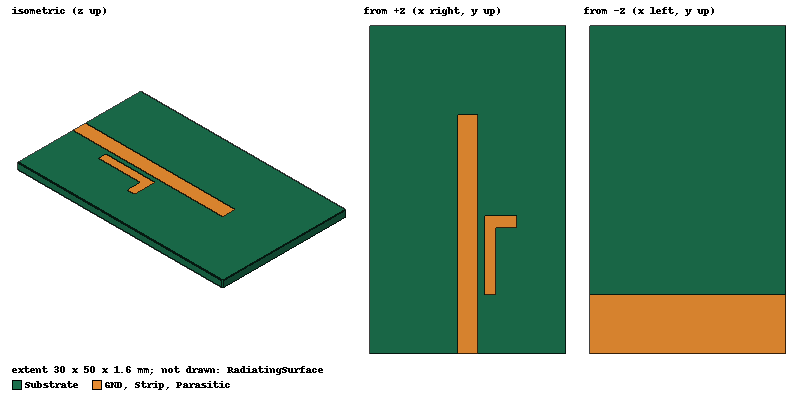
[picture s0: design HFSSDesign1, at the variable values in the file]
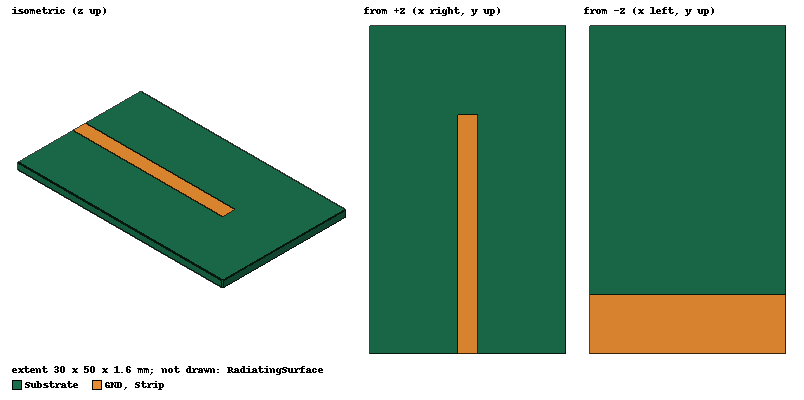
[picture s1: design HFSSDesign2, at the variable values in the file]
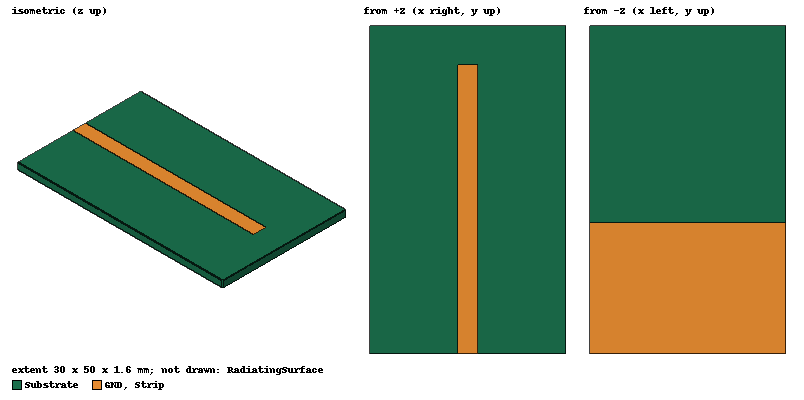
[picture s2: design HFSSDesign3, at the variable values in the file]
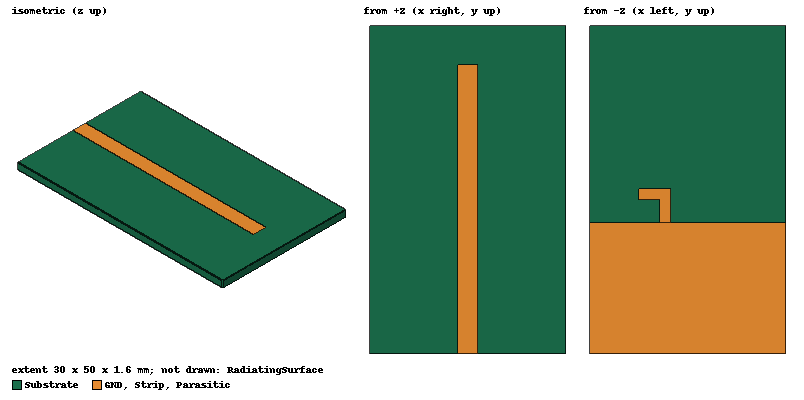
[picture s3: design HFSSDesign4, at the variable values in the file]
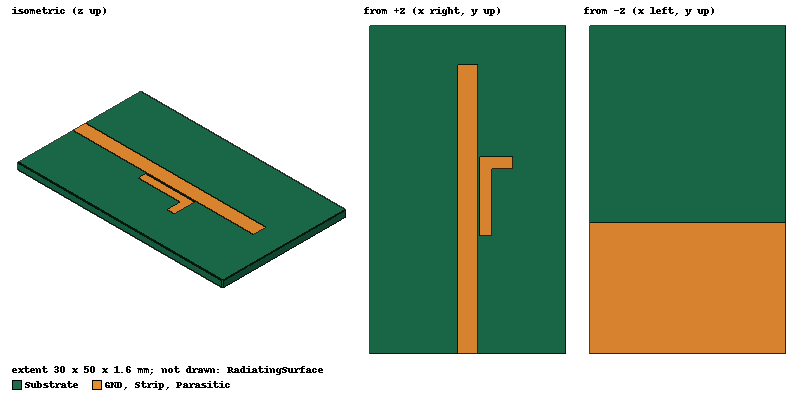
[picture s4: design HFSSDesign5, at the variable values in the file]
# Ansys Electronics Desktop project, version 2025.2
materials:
  vacuum: permittivity=1
  FR4_epoxy: permittivity=4.4 dielectric_loss_tangent=0.02
  copper: permeability=0.999991 conductivity=58000000

design HFSSDesign1 (HFSS, HFSS Modal Network, model units mm)
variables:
  sub_W = 30mm
  sub_L = 50mm
  h = 1.6mm
  Lg = 9mm
  Wf = 3.06mm
  Lm = 27.5mm
  Lp1 = 12mm
  Lp2 = 5mm
  Wp = 1.8mm
  gp = 1mm
  Loff = 0mm
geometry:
  Substrate [FR4_epoxy] = box(corner=(-sub_W/2, 0mm, 0mm), size=(sub_W, sub_L, h))
  GND = rectangle(corner=(-sub_W/2, 0mm, 0mm), x_size=sub_W, y_size=Lg)
  Strip = rectangle(corner=(-Wf/2, 0mm, h), x_size=Wf, y_size=Lg+Lm)
  PortSheet = rectangle(corner=(-Wf/2, 0mm, 0mm), z_size=h, x_size=Wf)
  RadiatingSurface [vacuum] = region(absolute_offset=41.666667mm on all sides)
  Par_long = rectangle(corner=(Wf/2+gp, Lg+Loff, h), x_size=Wp, y_size=Lp1)
  Parasitic = rectangle(corner=(Wf/2+gp, Lg+Loff+ Lp1-Wp, h), x_size=Lp2, y_size=Wp)
  Parasitic.unite(Par_long)
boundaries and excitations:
  Copper: Finite Conductivity Objects=[GND, Strip] UseMaterial Material=copper IsInternal
  Open1: Radiation Objects=RadiatingSurface
  Copper_L: Finite Conductivity Objects=Parasitic UseMaterial Material=copper IsInternal
  P1: Lumped Port Objects=PortSheet LumpedPortType=Modal Modes{Mode1{IntLine{(0, 0, 0) -> (0, 0, 1.6)} CharImp=Zpi}} Impedance=50ohm
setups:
  Setup1: HfssDriven Frequency=5.8GHz MaxDeltaS=0.02 MaximumPasses=10 MinimumPasses=1 MinimumConvergedPasses=1 PercentRefinement=30 BasisOrder=1 PortAccuracy=2 DrivenSolverType="Direct Solver"
    sweep Sweep: 1GHz to 7GHz step 0.01GHz; Type=Interpolating InterpTolerance=0.5 InterpMaxSolns=250 InterpUsePortImped=false PassivityErrorTolerance=0.0001
  Setup2: HfssDriven Frequency=5.8GHz MaxDeltaS=0.01 MaximumPasses=15 MinimumPasses=1 MinimumConvergedPasses=2 PercentRefinement=30 BasisOrder=1 PortAccuracy=2 DrivenSolverType="Direct Solver"
    sweep Sweep: 1GHz to 7GHz step 0.01GHz; Type=Interpolating InterpTolerance=0.5 InterpMaxSolns=250 InterpUsePortImped=false PassivityErrorTolerance=0.0001
  Setup3: HfssDriven MultipleAdaptiveFreqsSetup{AdaptAt{Frequency=2.4GHz Delta=0.01} AdaptAt{Frequency=5.8GHz Delta=0.01}} MaximumPasses=15 MinimumPasses=1 MinimumConvergedPasses=2 PercentRefinement=30 BasisOrder=1 PortAccuracy=2 DrivenSolverType="Direct Solver"
    sweep Sweep: 1GHz to 7GHz step 0.01GHz; Type=Interpolating InterpTolerance=0.5 InterpMaxSolns=250 InterpUsePortImped=false PassivityErrorTolerance=0.0001
    sweep GainSweep: 2GHz to 3GHz step 0.1GHz; 5.2GHz to 6.4GHz step 0.1GHz; disabled Type=Discrete SaveFields
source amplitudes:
  P1:1: 1W 0deg
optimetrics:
  ParametricSetup1: Parametric Sim._Setups=[Setup1]
    sweep Lp1: LIN 8mm 14mm 1mm
  ParametricSetup2: Parametric Sim._Setups=[Setup1]
    sweep gp: LIN 0.25mm 1.5mm 0.25mm
  ParametricSetup3: Parametric Sim._Setups=[Setup2]
    sweep Loff: LIN 0mm 6mm 1mm
  ParametricSetup4: Parametric Sim._Setups=[Setup1, Setup2]
    sweep Wp: LIN 0.6mm 2mm 0.2mm
  ParametricSetup5: Parametric Sim._Setups=[Setup3]
    sweep Lm: LIN 26mm 28.5mm 0.5mm
  ParametricSetup6: Parametric Sim._Setups=[Setup3]
    sweep Lp1: LIN 10mm 14mm 1mm
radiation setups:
  3D: Infinite Sphere Theta=0deg..180deg step 2deg Phi=-180deg..180deg step 2deg
  Elevation: Infinite Sphere Theta=-180deg..180deg step 1deg Phi=0deg..90deg step 90deg
  Azimuth: Infinite Sphere Theta=90deg..90deg step 0deg Phi=-180deg..180deg step 1deg
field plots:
  Mag_Jsurf1: Jsurf over Parasitic.face(at (5.03, 15, 1.6)) Strip.face GND.face on Setup3 : LastAdaptive at Freq=5.8GHz Phase=0deg
  Mag_Jsurf2: Jsurf over Strip.face GND.face Parasitic.face(at (5.03, 15, 1.6)) on Setup3 : LastAdaptive at Freq=2.4GHz Phase=0deg
  Mag_Jsurf3, ComplexMag_Jsurf1: Jsurf over Parasitic.face(at (5.03, 15, 1.6)) GND.face Strip.face on Setup3 : LastAdaptive at Freq=2.4GHz Phase=0deg
  Mag_Jsurf4, ComplexMag_Jsurf2: Jsurf over Parasitic.face(at (5.03, 15, 1.6)) GND.face Strip.face on Setup3 : LastAdaptive at Freq=5.8GHz Phase=0deg
  ComplexMag_E1: E Field over a plane on Setup3 : LastAdaptive at Freq=2.4GHz Phase=0deg
  ComplexMag_E2: E Field over a plane on Setup3 : LastAdaptive at Freq=5.8GHz Phase=0deg
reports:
  S Parameter Plot1: dB(S(P1,P1)) vs Freq on Setup1 : Sweep
  S Parameter Plot2: dB(S(P1,P1)) vs Freq on Setup1 : Sweep [Lm=all]
  S Parameter Plot3: dB(S(P1,P1)) vs Freq on Setup1 : Sweep
  S Parameter Plot4: dB(S(P1,P1)) vs Freq on Setup1 : Sweep [Lp1=all]
  S Parameter Plot5: dB(S(P1,P1)) vs Freq on Setup1 : Sweep [Lp1=all gp=all]
  S Parameter Plot6: dB(S(P1,P1)) vs Freq on Setup1 : Sweep [Lp1=12mm gp=all]
  S Parameter Plot7: dB(S(P1,P1)) vs Freq on Setup2 : Sweep [Lp1=all gp=all]
  S Parameter Plot8: dB(S(P1,P1)) vs Freq on Setup2 : Sweep [Lg=all Lp1=all gp=all]
  S Parameter Plot9: dB(S(P1,P1)) vs Freq on Setup2 : Sweep [Lg=all Wf=all Lm=all Lp1=all gp=all]
  S Parameter Plot10: dB(S(P1,P1)) vs Freq on Setup2 : Sweep [Lg=all Wf=all Lm=all Lp1=all gp=all]
  S Parameter Plot11: dB(S(P1,P1)) vs Freq on Setup2 : Sweep
  S Parameter Plot12: dB(S(P1,P1)) vs Freq on Setup2 : Sweep [Lp1=all gp=all Loff=all]
  S Parameter Plot13: dB(S(P1,P1)) vs Freq on Setup2 : Sweep [Lp1=all gp=all Loff=0mm,6mm]
  S Parameter Plot14: dB(S(P1,P1)) vs Freq on Setup1 : Sweep
  S Parameter Plot15: dB(S(P1,P1)) vs Freq on Setup2 : Sweep
  Realized Gain Plot1: RealizedGainTotal vs Theta on Setup3 : LastAdaptive, Elevation [Phi=0deg Freq=all Lp1=all Wp=all gp=all Loff=all]
  Realized Gain Plot2: RealizedGainTotal vs Theta on Setup3 : LastAdaptive, 3D [Phi=0deg Freq=all Lp1=all Wp=all gp=all Loff=all]
  Realized Gain Plot3: dB(RealizedGainTotal) vs Theta on Setup3 : LastAdaptive, Elevation [Phi=0deg Freq=all Lp1=all Wp=all gp=all Loff=all]
  Realized Gain Plot4: dB(RealizedGainPhi), dB(RealizedGainTheta) vs Theta on Setup3 : LastAdaptive, Elevation [Phi=90deg Freq=all Lp1=all Wp=all gp=all Loff=all]
  Realized Gain Plot5: dB(RealizedGainTotal) vs Phi, Theta on Setup3 : LastAdaptive, 3D [Freq=2.4GHz Lp1=12mm Wp=1.8mm gp=1mm Loff=0mm]
  Gain Plot1: dB(GainTotal) vs Phi, Theta on Setup3 : LastAdaptive, 3D [Freq=5.8GHz Lp1=12mm Wp=1.8mm gp=1mm Loff=0mm]
  Realized Gain Plot6: dB(RealizedGainTotal) vs Phi, Theta on Setup3 : LastAdaptive, 3D [Freq=5.8GHz Lp1=12mm Wp=1.8mm gp=1mm Loff=0mm]
  S Parameter Plot16: dB(S(P1,P1)) vs Freq on Setup3 : AdaptivePass [Lp1=all Wp=all gp=all Loff=all Pass=all]; markers MY1 at y=-9.98504
  S Parameter Plot17: dB(S(P1,P1)) vs Freq on Setup3 : Sweep; markers MY1 at y=-10.005
  Z Parameter Plot1: re(Z(P1,P1)), im(Z(P1,P1)) vs Freq on Setup3 : Sweep [Lp1=all Wp=all gp=all Loff=all]
  Z Parameter Plot2: im(Z(P1,P1)) vs Freq on Setup3 : Sweep [Lp1=all Wp=all gp=all Loff=all]
  S Parameter Chart1: S(P1,P1) on Setup3 : Sweep [Freq=all Lp1=all Wp=all gp=all Loff=all]
  VSWR Plot1: VSWR(P1) vs Freq on Setup3 : Sweep [Lp1=all Wp=all gp=all Loff=all]
  Realized Gain Plot7: dB(RealizedGainPhi), dB(RealizedGainTheta) vs Theta on Setup3 : LastAdaptive, Elevation [Phi=0deg Freq=all Lp1=all Wp=all gp=all Loff=all]
  Antenna Params Table1: PeakRealizedGain, RadiationEfficiency, FrontToBackRatio vs Freq on Setup3 : LastAdaptive [Lp1=all Wp=all gp=all Loff=all]
  Antenna Params Plot1: dB(PeakRealizedGain) vs Freq on Setup3 : GainSweep [Lp1=all Wp=all gp=all Loff=all]
  S Parameter Plot18: dB(S(P1,P1)) vs Freq on Setup3 : GainSweep [Lm=all Lp1=all Wp=all gp=all Loff=all]
  S Parameter Plot19: dB(S(P1,P1)) vs Freq on Setup3 : Sweep [Lm=all Lp1=all Wp=all gp=all Loff=all]
  S Parameter Plot20: dB(S(P1,P1)) vs Freq on Setup3 : Sweep [Lm=all Lp1=all Wp=all gp=all Loff=all]
  S Parameter Plot21: dB(S(P1,P1)) vs Freq on Setup3 : Sweep [Lm=27.5mm Lp1=all Wp=all gp=all Loff=all]

design HFSSDesign2 (HFSS, HFSS Modal Network, model units mm)
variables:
  sub_W = 30mm
  sub_L = 50mm
  h = 1.6mm
  Lg = 9mm
  Wf = 3.06mm
  Lm = 27.5mm
  Lp1 = 12mm
  Lp2 = 5mm
  Wp = 1.8mm
  gp = 1mm
  Loff = 0mm
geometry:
  Substrate [FR4_epoxy] = box(corner=(-sub_W/2, 0mm, 0mm), size=(sub_W, sub_L, h))
  GND = rectangle(corner=(-sub_W/2, 0mm, 0mm), x_size=sub_W, y_size=Lg)
  Strip = rectangle(corner=(-Wf/2, 0mm, h), x_size=Wf, y_size=Lg+Lm)
  PortSheet = rectangle(corner=(-Wf/2, 0mm, 0mm), z_size=h, x_size=Wf)
  RadiatingSurface [vacuum] = region(absolute_offset=41.666667mm on all sides)
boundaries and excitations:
  Copper: Finite Conductivity Objects=[GND, Strip] UseMaterial Material=copper IsInternal
  Open1: Radiation Objects=RadiatingSurface
  P1: Lumped Port Objects=PortSheet LumpedPortType=Modal Modes{Mode1{IntLine{(0, 0, 0) -> (0, 0, 1.6)} CharImp=Zpi}} Impedance=50ohm
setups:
  Setup1: HfssDriven Frequency=5.8GHz MaxDeltaS=0.02 MaximumPasses=10 MinimumPasses=1 MinimumConvergedPasses=1 PercentRefinement=30 BasisOrder=1 PortAccuracy=2 DrivenSolverType="Direct Solver"
    sweep Sweep: 1GHz to 7GHz step 0.01GHz; Type=Interpolating InterpTolerance=0.5 InterpMaxSolns=250 InterpUsePortImped=false PassivityErrorTolerance=0.0001
  Setup2: HfssDriven Frequency=5.8GHz MaxDeltaS=0.01 MaximumPasses=15 MinimumPasses=1 MinimumConvergedPasses=2 PercentRefinement=30 BasisOrder=1 PortAccuracy=2 DrivenSolverType="Direct Solver"
    sweep Sweep: 1GHz to 7GHz step 0.01GHz; Type=Interpolating InterpTolerance=0.5 InterpMaxSolns=250 InterpUsePortImped=false PassivityErrorTolerance=0.0001
  Setup3: HfssDriven MultipleAdaptiveFreqsSetup{AdaptAt{Frequency=2.4GHz Delta=0.01} AdaptAt{Frequency=5.8GHz Delta=0.01}} MaximumPasses=15 MinimumPasses=1 MinimumConvergedPasses=2 PercentRefinement=30 BasisOrder=1 PortAccuracy=2 DrivenSolverType="Direct Solver"
    sweep Sweep: 1GHz to 7GHz step 0.01GHz; Type=Interpolating InterpTolerance=0.5 InterpMaxSolns=250 InterpUsePortImped=false PassivityErrorTolerance=0.0001
    sweep GainSweep: 2GHz to 3GHz step 0.1GHz; 5.2GHz to 6.4GHz step 0.1GHz; disabled Type=Discrete SaveFields
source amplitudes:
  P1:1: 1W 0deg
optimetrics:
  ParametricSetup1: Parametric Sim._Setups=[Setup1]
    sweep Lp1: LIN 8mm 14mm 1mm
  ParametricSetup2: Parametric Sim._Setups=[Setup1]
    sweep gp: LIN 0.25mm 1.5mm 0.25mm
  ParametricSetup3: Parametric Sim._Setups=[Setup2]
    sweep Loff: LIN 0mm 6mm 1mm
  ParametricSetup4: Parametric Sim._Setups=[Setup1, Setup2]
    sweep Wp: LIN 0.6mm 2mm 0.2mm
  ParametricSetup5: Parametric Sim._Setups=[Setup3]
    sweep Lm: LIN 26mm 28.5mm 0.5mm
  ParametricSetup6: Parametric Sim._Setups=[Setup3]
    sweep Lp1: LIN 10mm 14mm 1mm
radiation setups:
  3D: Infinite Sphere Theta=0deg..180deg step 2deg Phi=-180deg..180deg step 2deg
  Elevation: Infinite Sphere Theta=-180deg..180deg step 1deg Phi=0deg..90deg step 90deg
  Azimuth: Infinite Sphere Theta=90deg..90deg step 0deg Phi=-180deg..180deg step 1deg
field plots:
  Mag_Jsurf1: Jsurf over Strip.face GND.face on Setup3 : LastAdaptive at Freq=5.8GHz Phase=0deg
  Mag_Jsurf2: Jsurf over Strip.face GND.face on Setup3 : LastAdaptive at Freq=2.4GHz Phase=0deg
  Mag_Jsurf3, ComplexMag_Jsurf1: Jsurf over GND.face Strip.face on Setup3 : LastAdaptive at Freq=2.4GHz Phase=0deg
  Mag_Jsurf4, ComplexMag_Jsurf2: Jsurf over GND.face Strip.face on Setup3 : LastAdaptive at Freq=5.8GHz Phase=0deg
  ComplexMag_E1: E Field over a plane on Setup3 : LastAdaptive at Freq=2.4GHz Phase=0deg
  ComplexMag_E2: E Field over a plane on Setup3 : LastAdaptive at Freq=5.8GHz Phase=0deg
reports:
  S Parameter Plot1: dB(S(P1,P1)) vs Freq on Setup1 : Sweep
  S Parameter Plot2: dB(S(P1,P1)) vs Freq on Setup1 : Sweep [Lm=all]
  S Parameter Plot3: dB(S(P1,P1)) vs Freq on Setup1 : Sweep
  S Parameter Plot4: dB(S(P1,P1)) vs Freq on Setup1 : Sweep [Lp1=all]
  S Parameter Plot5: dB(S(P1,P1)) vs Freq on Setup1 : Sweep [Lp1=all gp=all]
  S Parameter Plot6: dB(S(P1,P1)) vs Freq on Setup1 : Sweep [Lp1=12mm gp=all]
  S Parameter Plot7: dB(S(P1,P1)) vs Freq on Setup2 : Sweep [Lp1=all gp=all]
  S Parameter Plot8: dB(S(P1,P1)) vs Freq on Setup2 : Sweep [Lg=all Lp1=all gp=all]
  S Parameter Plot9: dB(S(P1,P1)) vs Freq on Setup2 : Sweep [Lg=all Wf=all Lm=all Lp1=all gp=all]
  S Parameter Plot10: dB(S(P1,P1)) vs Freq on Setup2 : Sweep [Lg=all Wf=all Lm=all Lp1=all gp=all]
  S Parameter Plot11: dB(S(P1,P1)) vs Freq on Setup2 : Sweep
  S Parameter Plot12: dB(S(P1,P1)) vs Freq on Setup2 : Sweep [Lp1=all gp=all Loff=all]
  S Parameter Plot13: dB(S(P1,P1)) vs Freq on Setup2 : Sweep [Lp1=all gp=all Loff=0mm,6mm]
  S Parameter Plot14: dB(S(P1,P1)) vs Freq on Setup1 : Sweep
  S Parameter Plot15: dB(S(P1,P1)) vs Freq on Setup2 : Sweep
  Realized Gain Plot1: RealizedGainTotal vs Theta on Setup3 : LastAdaptive, Elevation [Phi=0deg Freq=all Lp1=all Wp=all gp=all Loff=all]
  Realized Gain Plot2: RealizedGainTotal vs Theta on Setup3 : LastAdaptive, 3D [Phi=0deg Freq=all Lp1=all Wp=all gp=all Loff=all]
  Realized Gain Plot3: dB(RealizedGainTotal) vs Theta on Setup3 : LastAdaptive, Elevation [Phi=0deg Freq=all Lp1=all Wp=all gp=all Loff=all]
  Realized Gain Plot4: dB(RealizedGainPhi), dB(RealizedGainTheta) vs Theta on Setup3 : LastAdaptive, Elevation [Phi=90deg Freq=all Lp1=all Wp=all gp=all Loff=all]
  Realized Gain Plot5: dB(RealizedGainTotal) vs Phi, Theta on Setup3 : LastAdaptive, 3D [Freq=2.4GHz Lp1=12mm Wp=1.8mm gp=1mm Loff=0mm]
  Gain Plot1: dB(GainTotal) vs Phi, Theta on Setup3 : LastAdaptive, 3D [Freq=5.8GHz Lp1=12mm Wp=1.8mm gp=1mm Loff=0mm]
  Realized Gain Plot6: dB(RealizedGainTotal) vs Phi, Theta on Setup3 : LastAdaptive, 3D [Freq=5.8GHz Lp1=12mm Wp=1.8mm gp=1mm Loff=0mm]
  S Parameter Plot16: dB(S(P1,P1)) vs Freq on Setup3 : AdaptivePass [Lp1=all Wp=all gp=all Loff=all Pass=all]; markers MY1 at y=-9.98504
  S Parameter Plot17: dB(S(P1,P1)) vs Freq on Setup3 : Sweep; markers MY1 at y=-10.005
  Z Parameter Plot1: re(Z(P1,P1)), im(Z(P1,P1)) vs Freq on Setup3 : Sweep [Lp1=all Wp=all gp=all Loff=all]
  Z Parameter Plot2: im(Z(P1,P1)) vs Freq on Setup3 : Sweep [Lp1=all Wp=all gp=all Loff=all]
  S Parameter Chart1: S(P1,P1) on Setup3 : Sweep [Freq=all Lp1=all Wp=all gp=all Loff=all]
  VSWR Plot1: VSWR(P1) vs Freq on Setup3 : Sweep [Lp1=all Wp=all gp=all Loff=all]
  Realized Gain Plot7: dB(RealizedGainPhi), dB(RealizedGainTheta) vs Theta on Setup3 : LastAdaptive, Elevation [Phi=0deg Freq=all Lp1=all Wp=all gp=all Loff=all]
  Antenna Params Table1: PeakRealizedGain, RadiationEfficiency, FrontToBackRatio vs Freq on Setup3 : LastAdaptive [Lp1=all Wp=all gp=all Loff=all]
  Antenna Params Plot1: dB(PeakRealizedGain) vs Freq on Setup3 : GainSweep [Lp1=all Wp=all gp=all Loff=all]
  S Parameter Plot18: dB(S(P1,P1)) vs Freq on Setup3 : GainSweep [Lm=all Lp1=all Wp=all gp=all Loff=all]
  S Parameter Plot19: dB(S(P1,P1)) vs Freq on Setup3 : Sweep [Lm=all Lp1=all Wp=all gp=all Loff=all]
  S Parameter Plot20: dB(S(P1,P1)) vs Freq on Setup3 : Sweep [Lm=all Lp1=all Wp=all gp=all Loff=all]
  S Parameter Plot21: dB(S(P1,P1)) vs Freq on Setup3 : Sweep [Lm=27.5mm Lp1=all Wp=all gp=all Loff=all]
  S Parameter Plot22: dB(S(P1,P1)) vs Freq on Setup3 : Sweep [Lm=all Lp1=all Wp=all gp=all Loff=all]

design HFSSDesign3 (HFSS, HFSS Modal Network, model units mm)
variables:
  sub_W = 30mm
  sub_L = 50mm
  h = 1.6mm
  Lg = 20mm
  Wf = 3.06mm
  Lm = 24mm
  Lp1 = 12mm
  Lp2 = 5mm
  Wp = 1.8mm
  gp = 1mm
  Loff = 0mm
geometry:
  Substrate [FR4_epoxy] = box(corner=(-sub_W/2, 0mm, 0mm), size=(sub_W, sub_L, h))
  GND = rectangle(corner=(-sub_W/2, 0mm, 0mm), x_size=sub_W, y_size=Lg)
  Strip = rectangle(corner=(-Wf/2, 0mm, h), x_size=Wf, y_size=Lg+Lm)
  PortSheet = rectangle(corner=(-Wf/2, 0mm, 0mm), z_size=h, x_size=Wf)
  RadiatingSurface [vacuum] = region(absolute_offset=41.666667mm on all sides)
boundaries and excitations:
  Copper: Finite Conductivity Objects=[GND, Strip] UseMaterial Material=copper IsInternal
  Open1: Radiation Objects=RadiatingSurface
  P1: Lumped Port Objects=PortSheet LumpedPortType=Modal Modes{Mode1{IntLine{(0, 0, 0) -> (0, 0, 1.6)} CharImp=Zpi}} Impedance=50ohm
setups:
  Setup1: HfssDriven Frequency=5.8GHz MaxDeltaS=0.02 MaximumPasses=10 MinimumPasses=1 MinimumConvergedPasses=1 PercentRefinement=30 BasisOrder=1 PortAccuracy=2 DrivenSolverType="Direct Solver"
    sweep Sweep: 1GHz to 7GHz step 0.01GHz; Type=Interpolating InterpTolerance=0.5 InterpMaxSolns=250 InterpUsePortImped=false PassivityErrorTolerance=0.0001
  Setup2: HfssDriven Frequency=5.8GHz MaxDeltaS=0.01 MaximumPasses=15 MinimumPasses=1 MinimumConvergedPasses=2 PercentRefinement=30 BasisOrder=1 PortAccuracy=2 DrivenSolverType="Direct Solver"
    sweep Sweep: 1GHz to 7GHz step 0.01GHz; Type=Interpolating InterpTolerance=0.5 InterpMaxSolns=250 InterpUsePortImped=false PassivityErrorTolerance=0.0001
  Setup3: HfssDriven MultipleAdaptiveFreqsSetup{AdaptAt{Frequency=2.4GHz Delta=0.01} AdaptAt{Frequency=5.8GHz Delta=0.01}} MaximumPasses=15 MinimumPasses=1 MinimumConvergedPasses=2 PercentRefinement=30 BasisOrder=1 PortAccuracy=2 DrivenSolverType="Direct Solver"
    sweep Sweep: 1GHz to 7GHz step 0.01GHz; Type=Interpolating InterpTolerance=0.5 InterpMaxSolns=250 InterpUsePortImped=false PassivityErrorTolerance=0.0001
    sweep GainSweep: 2GHz to 3GHz step 0.1GHz; 5.2GHz to 6.4GHz step 0.1GHz; disabled Type=Discrete SaveFields
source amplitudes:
  P1:1: 1W 0deg
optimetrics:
  ParametricSetup1: Parametric Sim._Setups=[Setup1]
    sweep Lp1: LIN 8mm 14mm 1mm
  ParametricSetup2: Parametric Sim._Setups=[Setup1]
    sweep gp: LIN 0.25mm 1.5mm 0.25mm
  ParametricSetup3: Parametric Sim._Setups=[Setup2]
    sweep Loff: LIN 0mm 6mm 1mm
  ParametricSetup4: Parametric Sim._Setups=[Setup1, Setup2]
    sweep Wp: LIN 0.6mm 2mm 0.2mm
  ParametricSetup5: Parametric Sim._Setups=[Setup3]
    sweep Lm: LIN 26mm 28.5mm 0.5mm
  ParametricSetup6: Parametric Sim._Setups=[Setup3]
    sweep Lp1: LIN 10mm 14mm 1mm
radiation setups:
  3D: Infinite Sphere Theta=0deg..180deg step 2deg Phi=-180deg..180deg step 2deg
  Elevation: Infinite Sphere Theta=-180deg..180deg step 1deg Phi=0deg..90deg step 90deg
  Azimuth: Infinite Sphere Theta=90deg..90deg step 0deg Phi=-180deg..180deg step 1deg
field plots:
  Mag_Jsurf1: Jsurf over Strip.face GND.face on Setup3 : LastAdaptive at Freq=5.8GHz Phase=0deg
  Mag_Jsurf2: Jsurf over Strip.face GND.face on Setup3 : LastAdaptive at Freq=2.4GHz Phase=0deg
  Mag_Jsurf3, ComplexMag_Jsurf1: Jsurf over GND.face Strip.face on Setup3 : LastAdaptive at Freq=2.4GHz Phase=0deg
  Mag_Jsurf4, ComplexMag_Jsurf2: Jsurf over GND.face Strip.face on Setup3 : LastAdaptive at Freq=5.8GHz Phase=0deg
  ComplexMag_E1: E Field over a plane on Setup3 : LastAdaptive at Freq=2.4GHz Phase=0deg
  ComplexMag_E2: E Field over a plane on Setup3 : LastAdaptive at Freq=5.8GHz Phase=0deg
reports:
  S Parameter Plot1: dB(S(P1,P1)) vs Freq on Setup3 : Sweep [Lm=all Lp1=all Wp=all gp=all Loff=all]

design HFSSDesign4 (HFSS, HFSS Modal Network, model units mm)
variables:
  sub_W = 30mm
  sub_L = 50mm
  h = 1.6mm
  Lg = 20mm
  Wf = 3.06mm
  Lm = 24mm
  Lp1 = 5.2mm
  Lp2 = 5mm
  Wp = 1.8mm
  gp = 1mm
  Loff = 0mm
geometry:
  Substrate [FR4_epoxy] = box(corner=(-sub_W/2, 0mm, 0mm), size=(sub_W, sub_L, h))
  GND = rectangle(corner=(-sub_W/2, 0mm, 0mm), x_size=sub_W, y_size=Lg)
  Strip = rectangle(corner=(-Wf/2, 0mm, h), x_size=Wf, y_size=Lg+Lm)
  PortSheet = rectangle(corner=(-Wf/2, 0mm, 0mm), z_size=h, x_size=Wf)
  RadiatingSurface [vacuum] = region(absolute_offset=41.666667mm on all sides)
  Par_long = rectangle(corner=(Wf/2+gp, Lg+Loff, 0), x_size=Wp, y_size=Lp1)
  Parasitic = rectangle(corner=(Wf/2+gp, Lg+Loff+ Lp1-Wp, 0), x_size=Lp2, y_size=Wp)
  Parasitic.unite(Par_long)
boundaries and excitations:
  Copper: Finite Conductivity Objects=[GND, Strip] UseMaterial Material=copper IsInternal
  Open1: Radiation Objects=RadiatingSurface
  Copper_L: Finite Conductivity Objects=Parasitic UseMaterial Material=copper IsInternal
  P1: Lumped Port Objects=PortSheet LumpedPortType=Modal Modes{Mode1{IntLine{(0, 0, 0) -> (0, 0, 1.6)} CharImp=Zpi}} Impedance=50ohm
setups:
  Setup1: HfssDriven Frequency=5.8GHz MaxDeltaS=0.02 MaximumPasses=10 MinimumPasses=1 MinimumConvergedPasses=1 PercentRefinement=30 BasisOrder=1 PortAccuracy=2 DrivenSolverType="Direct Solver"
    sweep Sweep: 1GHz to 7GHz step 0.01GHz; Type=Interpolating InterpTolerance=0.5 InterpMaxSolns=250 InterpUsePortImped=false PassivityErrorTolerance=0.0001
  Setup2: HfssDriven Frequency=5.8GHz MaxDeltaS=0.01 MaximumPasses=15 MinimumPasses=1 MinimumConvergedPasses=2 PercentRefinement=30 BasisOrder=1 PortAccuracy=2 DrivenSolverType="Direct Solver"
    sweep Sweep: 1GHz to 7GHz step 0.01GHz; Type=Interpolating InterpTolerance=0.5 InterpMaxSolns=250 InterpUsePortImped=false PassivityErrorTolerance=0.0001
  Setup3: HfssDriven MultipleAdaptiveFreqsSetup{AdaptAt{Frequency=2.4GHz Delta=0.01} AdaptAt{Frequency=5.8GHz Delta=0.01}} MaximumPasses=15 MinimumPasses=1 MinimumConvergedPasses=2 PercentRefinement=30 BasisOrder=1 PortAccuracy=2 DrivenSolverType="Direct Solver"
    sweep Sweep: 1GHz to 7GHz step 0.01GHz; Type=Interpolating InterpTolerance=0.5 InterpMaxSolns=250 InterpUsePortImped=false PassivityErrorTolerance=0.0001
    sweep GainSweep: 2GHz to 3GHz step 0.1GHz; 5.2GHz to 6.4GHz step 0.1GHz; Type=Discrete SaveFields
  Setup4: HfssDriven MultipleAdaptiveFreqsSetup{AdaptAt{Frequency=2.4GHz Delta=0.02} AdaptAt{Frequency=5.8GHz Delta=0.02}} MaximumPasses=15 MinimumPasses=1 MinimumConvergedPasses=2 PercentRefinement=30 BasisOrder=1 PortAccuracy=2 DrivenSolverType="Direct Solver"
    sweep Sweep: 1GHz to 7GHz step 0.01GHz; Type=Interpolating InterpTolerance=0.5 InterpMaxSolns=250 InterpUsePortImped=false PassivityErrorTolerance=0.0001
    sweep GainSweep: 2GHz to 3GHz step 0.1GHz; 5.2GHz to 6.4GHz step 0.1GHz; disabled Type=Discrete SaveFields
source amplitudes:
  P1:1: 1W 0deg
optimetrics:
  ParametricSetup1: Parametric Sim._Setups=[Setup1]
    sweep Lp1: LIN 8mm 14mm 1mm
  ParametricSetup2: Parametric Sim._Setups=[Setup1]
    sweep gp: LIN 0.25mm 1.5mm 0.25mm
  ParametricSetup3: Parametric Sim._Setups=[Setup2]
    sweep Loff: LIN 0mm 6mm 1mm
  ParametricSetup4: Parametric Sim._Setups=[Setup1, Setup2]
    sweep Wp: LIN 0.6mm 2mm 0.2mm
  ParametricSetup5: Parametric Sim._Setups=[Setup3]
    sweep Lm: LIN 26mm 28.5mm 0.5mm
  ParametricSetup6: Parametric Sim._Setups=[Setup4]
    sweep sub_W: LIN 16mm 28mm 4mm
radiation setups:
  3D: Infinite Sphere Theta=0deg..180deg step 2deg Phi=-180deg..180deg step 2deg
  Elevation: Infinite Sphere Theta=-180deg..180deg step 1deg Phi=0deg..90deg step 90deg
  Azimuth: Infinite Sphere Theta=90deg..90deg step 0deg Phi=-180deg..180deg step 1deg
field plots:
  Mag_Jsurf1: Jsurf over Parasitic.face(at (5.03, 22.6, 0)) Strip.face GND.face on Setup3 : LastAdaptive at Freq=5.8GHz Phase=0deg
  Mag_Jsurf2: Jsurf over Strip.face GND.face Parasitic.face(at (5.03, 22.6, 0)) on Setup3 : LastAdaptive at Freq=2.4GHz Phase=0deg
  Mag_Jsurf3, ComplexMag_Jsurf1: Jsurf over Parasitic.face(at (5.03, 22.6, 0)) GND.face Strip.face on Setup3 : LastAdaptive at Freq=2.4GHz Phase=0deg
  Mag_Jsurf4, ComplexMag_Jsurf2: Jsurf over Parasitic.face(at (5.03, 22.6, 0)) GND.face Strip.face on Setup3 : LastAdaptive at Freq=5.8GHz Phase=0deg
  ComplexMag_E1: E Field over a plane on Setup3 : LastAdaptive at Freq=2.4GHz Phase=0deg
  ComplexMag_E2: E Field over a plane on Setup3 : LastAdaptive at Freq=5.8GHz Phase=0deg
  Vector_Jsurf1: Jsurf over Strip.face Parasitic.face(at (5.03, 22.6, 0)) GND.face on Setup3 : LastAdaptive at Freq=5.8GHz Phase=0deg
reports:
  S Parameter Plot1: dB(S(P1,P1)) vs Freq on Setup1 : Sweep
  S Parameter Plot2: dB(S(P1,P1)) vs Freq on Setup1 : Sweep [Lm=all]
  S Parameter Plot3: dB(S(P1,P1)) vs Freq on Setup1 : Sweep
  S Parameter Plot4: dB(S(P1,P1)) vs Freq on Setup1 : Sweep [Lp1=all]
  S Parameter Plot5: dB(S(P1,P1)) vs Freq on Setup1 : Sweep [Lp1=all gp=all]
  S Parameter Plot6: dB(S(P1,P1)) vs Freq on Setup1 : Sweep [Lp1=12mm gp=all]
  S Parameter Plot7: dB(S(P1,P1)) vs Freq on Setup2 : Sweep [Lp1=all gp=all]
  S Parameter Plot8: dB(S(P1,P1)) vs Freq on Setup2 : Sweep [Lg=all Lp1=all gp=all]
  S Parameter Plot9: dB(S(P1,P1)) vs Freq on Setup2 : Sweep [Lg=all Wf=all Lm=all Lp1=all gp=all]
  S Parameter Plot10: dB(S(P1,P1)) vs Freq on Setup2 : Sweep [Lg=all Wf=all Lm=all Lp1=all gp=all]
  S Parameter Plot11: dB(S(P1,P1)) vs Freq on Setup2 : Sweep
  S Parameter Plot12: dB(S(P1,P1)) vs Freq on Setup2 : Sweep [Lp1=all gp=all Loff=all]
  S Parameter Plot13: dB(S(P1,P1)) vs Freq on Setup2 : Sweep [Lp1=all gp=all Loff=0mm,6mm]
  S Parameter Plot14: dB(S(P1,P1)) vs Freq on Setup1 : Sweep
  S Parameter Plot15: dB(S(P1,P1)) vs Freq on Setup2 : Sweep
  Realized Gain Plot1: RealizedGainTotal vs Theta on Setup3 : LastAdaptive, Elevation [Phi=0deg Freq=all Lp1=all Wp=all gp=all Loff=all]
  Realized Gain Plot2: RealizedGainTotal vs Theta on Setup3 : LastAdaptive, 3D [Phi=0deg Freq=all Lp1=all Wp=all gp=all Loff=all]
  Realized Gain Plot3: dB(RealizedGainTotal) vs Theta on Setup3 : LastAdaptive, Elevation [Phi=0deg Freq=all Lp1=all Wp=all gp=all Loff=all]
  Realized Gain Plot4: dB(RealizedGainPhi), dB(RealizedGainTheta) vs Theta on Setup3 : LastAdaptive, Elevation [Phi=90deg Freq=all Lp1=all Wp=all gp=all Loff=all]
  Realized Gain Plot5: dB(RealizedGainTotal) vs Phi, Theta on Setup3 : LastAdaptive, 3D [Freq=2.4GHz Lp1=12mm Wp=1.8mm gp=1mm Loff=0mm]
  Gain Plot1: dB(GainTotal) vs Phi, Theta on Setup3 : LastAdaptive, 3D [Freq=5.8GHz Lp1=12mm Wp=1.8mm gp=1mm Loff=0mm]
  Realized Gain Plot6: dB(RealizedGainTotal) vs Phi, Theta on Setup3 : LastAdaptive, 3D [Freq=5.8GHz Lp1=12mm Wp=1.8mm gp=1mm Loff=0mm]
  S Parameter Plot16: dB(S(P1,P1)) vs Freq on Setup3 : AdaptivePass [Lp1=all Wp=all gp=all Loff=all Pass=all]; markers MY1 at y=-9.98504
  S Parameter Plot17: dB(S(P1,P1)) vs Freq on Setup3 : Sweep; markers MY1 at y=-10.005
  Z Parameter Plot1: re(Z(P1,P1)), im(Z(P1,P1)) vs Freq on Setup3 : Sweep [Lp1=all Wp=all gp=all Loff=all]
  Z Parameter Plot2: im(Z(P1,P1)) vs Freq on Setup3 : Sweep [Lp1=all Wp=all gp=all Loff=all]
  S Parameter Chart1: S(P1,P1) on Setup3 : Sweep [Freq=all Lp1=all Wp=all gp=all Loff=all]
  VSWR Plot1: VSWR(P1) vs Freq on Setup3 : Sweep [Lp1=all Wp=all gp=all Loff=all]
  Realized Gain Plot7: dB(RealizedGainPhi), dB(RealizedGainTheta) vs Theta on Setup3 : LastAdaptive, Elevation [Phi=0deg Freq=all Lp1=all Wp=all gp=all Loff=all]
  Antenna Params Table1: PeakRealizedGain, RadiationEfficiency, FrontToBackRatio vs Freq on Setup3 : LastAdaptive [Lp1=all Wp=all gp=all Loff=all]
  Antenna Params Plot1: dB(PeakRealizedGain) vs Freq on Setup3 : GainSweep [Lp1=all Wp=all gp=all Loff=all]
  S Parameter Plot18: dB(S(P1,P1)) vs Freq on Setup3 : GainSweep [Lm=all Lp1=all Wp=all gp=all Loff=all]
  S Parameter Plot19: dB(S(P1,P1)) vs Freq on Setup3 : Sweep [Lm=all Lp1=all Wp=all gp=all Loff=all]
  S Parameter Plot20: dB(S(P1,P1)) vs Freq on Setup3 : Sweep [Lm=all Lp1=all Wp=all gp=all Loff=all]
  S Parameter Plot21: dB(S(P1,P1)) vs Freq on Setup3 : Sweep [Lm=27.5mm Lp1=all Wp=all gp=all Loff=all]
  S Parameter Plot22: dB(S(P1,P1)) vs Freq on Setup3 : Sweep [Lm=all Lp1=all Wp=all gp=all Loff=all]
  S Parameter Plot23: dB(S(P1,P1)) vs Freq on Setup4 : Sweep [Lm=all Lp1=all Wp=all gp=all Loff=all]
  S Parameter Plot24: dB(S(P1,P1)) vs Freq on Setup4 : Sweep [Lm=all Lp1=all Wp=all gp=all Loff=all]
  S Parameter Plot25: dB(S(P1,P1)) vs Freq on Setup4 : Sweep [Lm=all Lp1=2mm,4mm,6mm,8mm,10mm Wp=all gp=all Loff=all]
  S Parameter Plot26: dB(S(P1,P1)) vs Freq on Setup4 : Sweep [Lm=all Lp1=all Wp=all gp=all Loff=all]
  S Parameter Plot27: dB(S(P1,P1)) vs Freq on Setup4 : Sweep [Lm=all Lp1=all Wp=all gp=all Loff=all]
  S Parameter Plot28: dB(S(P1,P1)) vs Freq on Setup4 : Sweep [Lm=all Lp1=all Wp=all gp=all Loff=all]
  S Parameter Plot29: dB(S(P1,P1)) vs Freq on Setup4 : Sweep [Lm=all Lp1=4.6mm,4.8mm,5mm,5.2mm,5.4mm,5.6mm,6mm Wp=all gp=all Loff=all]
  S Parameter Plot30: dB(S(P1,P1)) vs Freq on Setup3 : Sweep [Lm=all Lp1=all Wp=all gp=all Loff=all]
  Realized Gain Plot8: dB(RealizedGainPhi), dB(RealizedGainTheta) vs Theta, Phi on Setup3 : LastAdaptive, Elevation [Phi=0deg Freq=2.4GHz Lm=24mm Lp1=5.2mm Wp=1.8mm gp=1mm Loff=0mm]
  Gain Plot2: dB(GainPhi), GainPhi, dB(GainTheta), GainTheta vs Theta on Setup3 : GainSweep, Elevation [Phi=all Freq=5.8GHz Lm=all Lp1=all Wp=all gp=all Loff=all]
  Realized Gain Plot9: dB(RealizedGainPhi), dB(RealizedGainTheta) vs Theta on Setup3 : LastAdaptive, Elevation [Phi=all Freq=2.4GHz Lm=all Lp1=all Wp=all gp=all Loff=all]
  Realized Gain Plot10: dB(RealizedGainPhi), dB(RealizedGainTheta) vs Theta on Setup3 : LastAdaptive, Elevation [Phi=all Freq=5.8GHz Lm=all Lp1=all Wp=all gp=all Loff=all]
  Realized Gain Plot11: dB(RealizedGainTotal) vs Phi, Theta on Setup1 : LastAdaptive, 3D [Freq=5.8GHz Lm=24mm Lp1=5.2mm Wp=1.8mm gp=1mm Loff=0mm]
  Realized Gain Plot12: dB(RealizedGainTotal) vs Phi, Theta on Setup3 : LastAdaptive, 3D [Freq=5.8GHz Lm=24mm Lp1=5.2mm Wp=1.8mm gp=1mm Loff=0mm]
  S Parameter Plot31: dB(S(P1,P1)) vs Freq on Setup4 : Sweep [sub_W=all Lm=all Lp1=all Wp=all gp=all Loff=all]
  S Parameter Plot32: dB(S(P1,P1)) vs Freq on Setup4 : Sweep [sub_W=all Lm=all Lp1=5.2mm Wp=all gp=all Loff=all]
  Gain Plot3: dB(GainPhi), dB(GainTheta) vs Theta on Setup4 : LastAdaptive, 3D [Phi=all Freq=5.8GHz sub_W=all Lm=all Lp1=5.2mm Wp=all gp=all Loff=all]
  Gain Plot4: dB(GainPhi), dB(GainTheta) vs Theta on Setup4 : LastAdaptive, 3D [Phi=0deg Freq=5.8GHz sub_W=all Lm=all Lp1=5.2mm Wp=all gp=all Loff=all]
  Realized Gain Plot13: dB(RealizedGainPhi), dB(RealizedGainTheta) vs Theta on Setup4 : LastAdaptive, Elevation [Phi=0deg Freq=5.8GHz sub_W=all Lm=all Lp1=5.2mm Wp=all gp=all Loff=all]
  S Parameter Plot33: dB(S(P1,P1)) vs Freq on Setup4 : Sweep [sub_W=all Lm=all Lp1=5.2mm Wp=all gp=all Loff=all]

design HFSSDesign5 (HFSS, HFSS Modal Network, model units mm)
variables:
  sub_W = 30mm
  sub_L = 50mm
  h = 1.6mm
  Lg = 20mm
  Wf = 3.06mm
  Lm = 24mm
  Lp1 = 12mm
  Lp2 = 5mm
  Wp = 1.8mm
  gp = 0.3mm
  Loff = -2mm
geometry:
  Substrate [FR4_epoxy] = box(corner=(-sub_W/2, 0mm, 0mm), size=(sub_W, sub_L, h))
  GND = rectangle(corner=(-sub_W/2, 0mm, 0mm), x_size=sub_W, y_size=Lg)
  Strip = rectangle(corner=(-Wf/2, 0mm, h), x_size=Wf, y_size=Lg+Lm)
  PortSheet = rectangle(corner=(-Wf/2, 0mm, 0mm), z_size=h, x_size=Wf)
  RadiatingSurface [vacuum] = region(absolute_offset=41.666667mm on all sides)
  Par_long = rectangle(corner=(Wf/2+gp, Lg+Loff, h), x_size=Wp, y_size=Lp1)
  Parasitic = rectangle(corner=(Wf/2+gp, Lg+Loff+ Lp1-Wp, h), x_size=Lp2, y_size=Wp)
  Parasitic.unite(Par_long)
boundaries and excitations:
  Copper: Finite Conductivity Objects=[GND, Strip] UseMaterial Material=copper IsInternal
  Open1: Radiation Objects=RadiatingSurface
  Copper_L: Finite Conductivity Objects=Parasitic UseMaterial Material=copper IsInternal
  P1: Lumped Port Objects=PortSheet LumpedPortType=Modal Modes{Mode1{IntLine{(0, 0, 0) -> (0, 0, 1.6)} CharImp=Zpi}} Impedance=50ohm
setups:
  Setup1: HfssDriven Frequency=5.8GHz MaxDeltaS=0.02 MaximumPasses=10 MinimumPasses=1 MinimumConvergedPasses=1 PercentRefinement=30 BasisOrder=1 PortAccuracy=2 DrivenSolverType="Direct Solver"
    sweep Sweep: 1GHz to 7GHz step 0.01GHz; Type=Interpolating InterpTolerance=0.5 InterpMaxSolns=250 InterpUsePortImped=false PassivityErrorTolerance=0.0001
  Setup2: HfssDriven Frequency=5.8GHz MaxDeltaS=0.01 MaximumPasses=15 MinimumPasses=1 MinimumConvergedPasses=2 PercentRefinement=30 BasisOrder=1 PortAccuracy=2 DrivenSolverType="Direct Solver"
    sweep Sweep: 1GHz to 7GHz step 0.01GHz; Type=Interpolating InterpTolerance=0.5 InterpMaxSolns=250 InterpUsePortImped=false PassivityErrorTolerance=0.0001
  Setup3: HfssDriven MultipleAdaptiveFreqsSetup{AdaptAt{Frequency=2.4GHz Delta=0.01} AdaptAt{Frequency=5.8GHz Delta=0.01}} MaximumPasses=15 MinimumPasses=1 MinimumConvergedPasses=2 PercentRefinement=30 BasisOrder=1 PortAccuracy=2 DrivenSolverType="Direct Solver"
    sweep Sweep: 1GHz to 7GHz step 0.01GHz; Type=Interpolating InterpTolerance=0.5 InterpMaxSolns=250 InterpUsePortImped=false PassivityErrorTolerance=0.0001
    sweep GainSweep: 2GHz to 3GHz step 0.1GHz; 5.2GHz to 6.4GHz step 0.1GHz; Type=Discrete SaveFields
  Setup4: HfssDriven MultipleAdaptiveFreqsSetup{AdaptAt{Frequency=2.4GHz Delta=0.02} AdaptAt{Frequency=5.8GHz Delta=0.02}} MaximumPasses=15 MinimumPasses=1 MinimumConvergedPasses=2 PercentRefinement=30 BasisOrder=1 PortAccuracy=2 DrivenSolverType="Direct Solver"
    sweep Sweep: 1GHz to 7GHz step 0.01GHz; Type=Interpolating InterpTolerance=0.5 InterpMaxSolns=250 InterpUsePortImped=false PassivityErrorTolerance=0.0001
    sweep GainSweep: 2GHz to 3GHz step 0.1GHz; 5.2GHz to 6.4GHz step 0.1GHz; disabled Type=Discrete SaveFields
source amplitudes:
  P1:1: 1W 0deg
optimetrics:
  ParametricSetup1: Parametric Sim._Setups=[Setup1]
    sweep Lp1: LIN 8mm 14mm 1mm
  ParametricSetup2: Parametric Sim._Setups=[Setup1]
    sweep gp: LIN 0.25mm 1.5mm 0.25mm
  ParametricSetup3: Parametric Sim._Setups=[Setup2]
    sweep Loff: LIN 0mm 6mm 1mm
  ParametricSetup4: Parametric Sim._Setups=[Setup1, Setup2]
    sweep Wp: LIN 0.6mm 2mm 0.2mm
  ParametricSetup5: Parametric Sim._Setups=[Setup3]
    sweep Lm: LIN 26mm 28.5mm 0.5mm
  ParametricSetup6: Parametric Sim._Setups=[Setup4]
    sweep Loff: LIN -8mm 0mm 1mm
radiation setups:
  3D: Infinite Sphere Theta=0deg..180deg step 2deg Phi=-180deg..180deg step 2deg
  Elevation: Infinite Sphere Theta=-180deg..180deg step 1deg Phi=0deg..90deg step 90deg
  Azimuth: Infinite Sphere Theta=90deg..90deg step 0deg Phi=-180deg..180deg step 1deg
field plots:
  Mag_Jsurf1: Jsurf over Parasitic.face(at (4.33, 24, 1.6)) Strip.face GND.face on Setup3 : LastAdaptive at Freq=5.8GHz Phase=0deg
  Mag_Jsurf2: Jsurf over Strip.face GND.face Parasitic.face(at (4.33, 24, 1.6)) on Setup3 : LastAdaptive at Freq=2.4GHz Phase=0deg
  Mag_Jsurf3, ComplexMag_Jsurf1: Jsurf over Parasitic.face(at (4.33, 24, 1.6)) GND.face Strip.face on Setup3 : LastAdaptive at Freq=2.4GHz Phase=0deg
  Mag_Jsurf4, ComplexMag_Jsurf2: Jsurf over Parasitic.face(at (4.33, 24, 1.6)) GND.face Strip.face on Setup3 : LastAdaptive at Freq=5.8GHz Phase=0deg
  ComplexMag_E1: E Field over a plane on Setup3 : LastAdaptive at Freq=2.4GHz Phase=0deg
  ComplexMag_E2: E Field over a plane on Setup3 : LastAdaptive at Freq=5.8GHz Phase=0deg
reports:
  S Parameter Plot1: dB(S(P1,P1)) vs Freq on Setup1 : Sweep
  S Parameter Plot2: dB(S(P1,P1)) vs Freq on Setup1 : Sweep [Lm=all]
  S Parameter Plot3: dB(S(P1,P1)) vs Freq on Setup1 : Sweep
  S Parameter Plot4: dB(S(P1,P1)) vs Freq on Setup1 : Sweep [Lp1=all]
  S Parameter Plot5: dB(S(P1,P1)) vs Freq on Setup1 : Sweep [Lp1=all gp=all]
  S Parameter Plot6: dB(S(P1,P1)) vs Freq on Setup1 : Sweep [Lp1=12mm gp=all]
  S Parameter Plot7: dB(S(P1,P1)) vs Freq on Setup2 : Sweep [Lp1=all gp=all]
  S Parameter Plot8: dB(S(P1,P1)) vs Freq on Setup2 : Sweep [Lg=all Lp1=all gp=all]
  S Parameter Plot9: dB(S(P1,P1)) vs Freq on Setup2 : Sweep [Lg=all Wf=all Lm=all Lp1=all gp=all]
  S Parameter Plot10: dB(S(P1,P1)) vs Freq on Setup2 : Sweep [Lg=all Wf=all Lm=all Lp1=all gp=all]
  S Parameter Plot11: dB(S(P1,P1)) vs Freq on Setup2 : Sweep
  S Parameter Plot12: dB(S(P1,P1)) vs Freq on Setup2 : Sweep [Lp1=all gp=all Loff=all]
  S Parameter Plot13: dB(S(P1,P1)) vs Freq on Setup2 : Sweep [Lp1=all gp=all Loff=0mm,6mm]
  S Parameter Plot14: dB(S(P1,P1)) vs Freq on Setup1 : Sweep
  S Parameter Plot15: dB(S(P1,P1)) vs Freq on Setup2 : Sweep
  Realized Gain Plot1: RealizedGainTotal vs Theta on Setup3 : LastAdaptive, Elevation [Phi=0deg Freq=all Lp1=all Wp=all gp=all Loff=all]
  Realized Gain Plot2: RealizedGainTotal vs Theta on Setup3 : LastAdaptive, 3D [Phi=0deg Freq=all Lp1=all Wp=all gp=all Loff=all]
  Realized Gain Plot3: dB(RealizedGainTotal) vs Theta on Setup3 : LastAdaptive, Elevation [Phi=0deg Freq=all Lp1=all Wp=all gp=all Loff=all]
  Realized Gain Plot4: dB(RealizedGainPhi), dB(RealizedGainTheta) vs Theta on Setup3 : LastAdaptive, Elevation [Phi=90deg Freq=all Lp1=all Wp=all gp=all Loff=all]
  Realized Gain Plot5: dB(RealizedGainTotal) vs Phi, Theta on Setup3 : LastAdaptive, 3D [Freq=2.4GHz Lp1=12mm Wp=1.8mm gp=1mm Loff=0mm]
  Gain Plot1: dB(GainTotal) vs Phi, Theta on Setup3 : LastAdaptive, 3D [Freq=5.8GHz Lp1=12mm Wp=1.8mm gp=1mm Loff=0mm]
  Realized Gain Plot6: dB(RealizedGainTotal) vs Phi, Theta on Setup3 : LastAdaptive, 3D [Freq=5.8GHz Lp1=12mm Wp=1.8mm gp=1mm Loff=0mm]
  S Parameter Plot16: dB(S(P1,P1)) vs Freq on Setup3 : AdaptivePass [Lp1=all Wp=all gp=all Loff=all Pass=all]; markers MY1 at y=-9.98504
  S Parameter Plot17: dB(S(P1,P1)) vs Freq on Setup3 : Sweep; markers MY1 at y=-10.005
  Z Parameter Plot1: re(Z(P1,P1)), im(Z(P1,P1)) vs Freq on Setup3 : Sweep [Lp1=all Wp=all gp=all Loff=all]
  Z Parameter Plot2: im(Z(P1,P1)) vs Freq on Setup3 : Sweep [Lp1=all Wp=all gp=all Loff=all]
  S Parameter Chart1: S(P1,P1) on Setup3 : Sweep [Freq=all Lp1=all Wp=all gp=all Loff=all]
  VSWR Plot1: VSWR(P1) vs Freq on Setup3 : Sweep [Lp1=all Wp=all gp=all Loff=all]
  Realized Gain Plot7: dB(RealizedGainPhi), dB(RealizedGainTheta) vs Theta on Setup3 : LastAdaptive, Elevation [Phi=0deg Freq=all Lp1=all Wp=all gp=all Loff=all]
  Antenna Params Table1: PeakRealizedGain, RadiationEfficiency, FrontToBackRatio vs Freq on Setup3 : LastAdaptive [Lp1=all Wp=all gp=all Loff=all]
  Antenna Params Plot1: dB(PeakRealizedGain) vs Freq on Setup3 : GainSweep [Lp1=all Wp=all gp=all Loff=all]
  S Parameter Plot18: dB(S(P1,P1)) vs Freq on Setup3 : GainSweep [Lm=all Lp1=all Wp=all gp=all Loff=all]
  S Parameter Plot19: dB(S(P1,P1)) vs Freq on Setup3 : Sweep [Lm=all Lp1=all Wp=all gp=all Loff=all]
  S Parameter Plot20: dB(S(P1,P1)) vs Freq on Setup3 : Sweep [Lm=all Lp1=all Wp=all gp=all Loff=all]
  S Parameter Plot21: dB(S(P1,P1)) vs Freq on Setup3 : Sweep [Lm=27.5mm Lp1=all Wp=all gp=all Loff=all]
  S Parameter Plot22: dB(S(P1,P1)) vs Freq on Setup3 : Sweep [Lm=all Lp1=all Wp=all gp=all Loff=all]
  S Parameter Plot23: dB(S(P1,P1)) vs Freq on Setup4 : Sweep [Lm=all Lp1=all Wp=all gp=all Loff=all]
  S Parameter Plot24: dB(S(P1,P1)) vs Freq on Setup4 : Sweep [Lm=all Lp1=all Wp=all gp=all Loff=all]
  S Parameter Plot25: dB(S(P1,P1)) vs Freq on Setup4 : Sweep [Lm=all Lp1=2mm,4mm,6mm,8mm,10mm Wp=all gp=all Loff=all]
  S Parameter Plot26: dB(S(P1,P1)) vs Freq on Setup4 : Sweep [Lm=all Lp1=all Wp=all gp=all Loff=all]
  S Parameter Plot27: dB(S(P1,P1)) vs Freq on Setup4 : Sweep [Lm=all Lp1=all Wp=all gp=all Loff=all]
  S Parameter Plot28: dB(S(P1,P1)) vs Freq on Setup4 : Sweep [Lm=all Lp1=all Wp=all gp=all Loff=all]
  S Parameter Plot29: dB(S(P1,P1)) vs Freq on Setup4 : Sweep [Lm=all Lp1=4.6mm,4.8mm,5mm,5.2mm,5.4mm,5.6mm,6mm Wp=all gp=all Loff=all]
  S Parameter Plot30: dB(S(P1,P1)) vs Freq on Setup3 : Sweep [Lm=all Lp1=all Wp=all gp=all Loff=all]
  Realized Gain Plot8: dB(RealizedGainPhi), dB(RealizedGainTheta) vs Theta, Phi on Setup3 : LastAdaptive, Elevation [Phi=0deg Freq=2.4GHz Lm=24mm Lp1=5.2mm Wp=1.8mm gp=1mm Loff=0mm]
  Gain Plot2: dB(GainPhi), GainPhi, dB(GainTheta), GainTheta vs Theta on Setup3 : GainSweep, Elevation [Phi=all Freq=5.8GHz Lm=all Lp1=all Wp=all gp=all Loff=all]
  Realized Gain Plot9: dB(RealizedGainPhi), dB(RealizedGainTheta) vs Theta on Setup3 : LastAdaptive, Elevation [Phi=all Freq=2.4GHz Lm=all Lp1=all Wp=all gp=all Loff=all]
  Realized Gain Plot10: dB(RealizedGainPhi), dB(RealizedGainTheta) vs Theta on Setup3 : LastAdaptive, Elevation [Phi=all Freq=5.8GHz Lm=all Lp1=all Wp=all gp=all Loff=all]
  Realized Gain Plot11: dB(RealizedGainTotal) vs Phi, Theta on Setup1 : LastAdaptive, 3D [Freq=5.8GHz Lm=24mm Lp1=5.2mm Wp=1.8mm gp=1mm Loff=0mm]
  Realized Gain Plot12: dB(RealizedGainTotal) vs Phi, Theta on Setup3 : LastAdaptive, 3D [Freq=5.8GHz Lm=24mm Lp1=5.2mm Wp=1.8mm gp=1mm Loff=0mm]
  S Parameter Plot31: dB(S(P1,P1)) vs Freq on Setup4 : Sweep [Lm=all Lp1=all Wp=all gp=all Loff=all]
